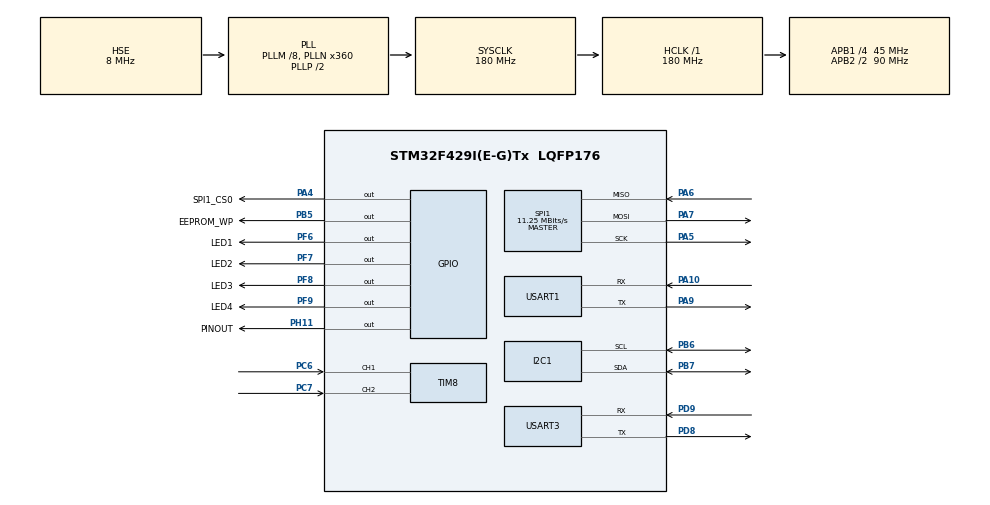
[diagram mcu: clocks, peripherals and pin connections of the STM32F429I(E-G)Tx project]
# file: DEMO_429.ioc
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ADC1.Channel-0\#ChannelRegularConversion=ADC_CHANNEL_TEMPSENSOR
ADC1.NbrOfConversion=1
ADC1.NbrOfConversionFlag=1
ADC1.Rank-0\#ChannelRegularConversion=1
ADC1.SamplingTime-0\#ChannelRegularConversion=ADC_SAMPLETIME_3CYCLES
ADC1.master=1
Dma.Request0=USART3_RX
Dma.Request1=USART1_RX
Dma.USART1_RX.1.Direction=DMA_PERIPH_TO_MEMORY
Dma.USART1_RX.1.FIFOMode=DMA_FIFOMODE_DISABLE
Dma.USART1_RX.1.Instance=DMA2_Stream2
Dma.USART1_RX.1.MemDataAlignment=DMA_MDATAALIGN_BYTE
Dma.USART1_RX.1.MemInc=DMA_MINC_ENABLE
Dma.USART1_RX.1.Mode=DMA_NORMAL
Dma.USART1_RX.1.PeriphDataAlignment=DMA_PDATAALIGN_BYTE
Dma.USART1_RX.1.PeriphInc=DMA_PINC_DISABLE
Dma.USART1_RX.1.Priority=DMA_PRIORITY_LOW
Dma.USART3_RX.0.Direction=DMA_PERIPH_TO_MEMORY
Dma.USART3_RX.0.FIFOMode=DMA_FIFOMODE_DISABLE
Dma.USART3_RX.0.Instance=DMA1_Stream1
Dma.USART3_RX.0.MemDataAlignment=DMA_MDATAALIGN_BYTE
Dma.USART3_RX.0.MemInc=DMA_MINC_ENABLE
Dma.USART3_RX.0.Mode=DMA_NORMAL
Dma.USART3_RX.0.PeriphDataAlignment=DMA_PDATAALIGN_BYTE
Dma.USART3_RX.0.PeriphInc=DMA_PINC_DISABLE
Dma.USART3_RX.0.Priority=DMA_PRIORITY_LOW
FREERTOS.Tasks01=defaultTask,24,128,StartDefaultTask,Default,NULL,Dynamic,NULL,NULL
FREERTOS.configLIBRARY_MAX_SYSCALL_INTERRUPT_PRIORITY=5
FREERTOS.configTOTAL_HEAP_SIZE=30720
I2C1.I2C_Mode=I2C_Standard
IWDG.Prescaler=IWDG_PRESCALER_32
IWDG.Reload=2000
Mcu.Family=STM32F4
Mcu.Name=STM32F429I(E-G)Tx
Mcu.Package=LQFP176
NVIC.DMA1_Stream1_IRQn=true\:6\:0\:true\:false\:true\:true\:false\:true
NVIC.DMA2_Stream2_IRQn=true\:6\:0\:true\:false\:true\:true\:false\:true
NVIC.FLASH_IRQn=true\:6\:0\:true\:false\:true\:true\:true\:true
NVIC.PriorityGroup=NVIC_PRIORITYGROUP_4
NVIC.TIM1_UP_TIM10_IRQn=true\:0\:0\:false\:false\:true\:false\:false\:true
NVIC.TIM3_IRQn=true\:6\:0\:true\:false\:true\:true\:true\:true
NVIC.TIM8_CC_IRQn=true\:5\:0\:false\:false\:true\:true\:true\:true
NVIC.TimeBase=TIM1_UP_TIM10_IRQn
NVIC.TimeBaseIP=TIM1
NVIC.USART1_IRQn=true\:6\:0\:true\:false\:true\:true\:true\:true
NVIC.USART3_IRQn=true\:6\:0\:true\:false\:true\:true\:true\:true
PA10.Mode=Asynchronous
PA10.Signal=USART1_RX
PA4.GPIO_Label=SPI1_CS0
PA4.Signal=GPIO_Output
PA5.Mode=Full_Duplex_Master
PA5.Signal=SPI1_SCK
PA6.Mode=Full_Duplex_Master
PA6.Signal=SPI1_MISO
PA7.Mode=Full_Duplex_Master
PA7.Signal=SPI1_MOSI
PA9.Mode=Asynchronous
PA9.Signal=USART1_TX
PB5.GPIO_Label=EEPROM_WP
PB5.Signal=GPIO_Output
PB6.Mode=I2C
PB6.Signal=I2C1_SCL
PB7.Mode=I2C
PB7.Signal=I2C1_SDA
PC6.Signal=S_TIM8_CH1
PC7.Signal=S_TIM8_CH2
PD8.Mode=Asynchronous
PD8.Signal=USART3_TX
PD9.Mode=Asynchronous
PD9.Signal=USART3_RX
PF6.GPIO_Label=LED1
PF6.Signal=GPIO_Output
PF7.GPIO_Label=LED2
PF7.Signal=GPIO_Output
PF8.GPIO_Label=LED3
PF8.Signal=GPIO_Output
PF9.GPIO_Label=LED4
PF9.Signal=GPIO_Output
PH0/OSC_IN.Mode=HSE-External-Oscillator
PH0/OSC_IN.Signal=RCC_OSC_IN
PH1/OSC_OUT.Mode=HSE-External-Oscillator
PH1/OSC_OUT.Signal=RCC_OSC_OUT
PH11.GPIO_Label=PINOUT
PH11.Signal=GPIO_Output
ProjectManager.HeapSize=0x200
ProjectManager.StackSize=0x400
ProjectManager.TargetToolchain=MDK-ARM V5
RCC.48MHZClocksFreq_Value=90000000
RCC.AHBFreq_Value=180000000
RCC.APB1CLKDivider=RCC_HCLK_DIV4
RCC.APB1Freq_Value=45000000
RCC.APB1TimFreq_Value=90000000
RCC.APB2CLKDivider=RCC_HCLK_DIV2
RCC.APB2Freq_Value=90000000
RCC.APB2TimFreq_Value=180000000
RCC.CortexFreq_Value=180000000
RCC.HCLKFreq_Value=180000000
RCC.HSE_VALUE=8000000
RCC.HSI_VALUE=16000000
RCC.LSE_VALUE=32768
RCC.PLLM=8
RCC.PLLN=360
RCC.PLLSourceVirtual=RCC_PLLSOURCE_HSE
RCC.RCC_RTC_Clock_Source=RCC_RTCCLKSOURCE_LSI
RCC.RCC_RTC_Clock_SourceVirtual=RCC_RTCCLKSOURCE_LSI
RCC.SYSCLKFreq_VALUE=180000000
RCC.SYSCLKSource=RCC_SYSCLKSOURCE_PLLCLK
RCC.VCOOutputFreq_Value=360000000
SH.S_TIM8_CH1.0=TIM8_CH1,Input_Capture1_from_TI1
SH.S_TIM8_CH2.0=TIM8_CH2,Input_Capture2_from_TI2
SPI1.BaudRatePrescaler=SPI_BAUDRATEPRESCALER_8
SPI1.CLKPhase=SPI_PHASE_1EDGE
SPI1.CLKPolarity=SPI_POLARITY_LOW
SPI1.CalculateBaudRate=11.25 MBits/s
SPI1.Direction=SPI_DIRECTION_2LINES
SPI1.Mode=SPI_MODE_MASTER
SPI1.VirtualType=VM_MASTER
TIM3.AutoReloadPreload=TIM_AUTORELOAD_PRELOAD_ENABLE
TIM3.Period=999
TIM3.Prescaler=44999
TIM8.Channel-Input_Capture1_from_TI1=TIM_CHANNEL_1
TIM8.Channel-Input_Capture2_from_TI2=TIM_CHANNEL_2
TIM8.ICFilter_CH1=0x03
TIM8.ICFilter_CH2=0x03
TIM8.ICPolarity_CH2=TIM_INPUTCHANNELPOLARITY_FALLING
USART1.VirtualMode=VM_ASYNC
USART3.VirtualMode=VM_ASYNC
VP_ADC1_TempSens_Input.Mode=IN-TempSens
VP_FREERTOS_VS_CMSIS_V2.Mode=CMSIS_V2
VP_IWDG_VS_IWDG.Mode=IWDG_Activate
VP_SYS_VS_tim1.Mode=TIM1
VP_TIM3_VS_ClockSourceINT.Mode=Internal
board=custom

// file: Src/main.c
/* USER CODE BEGIN Header */
/**
  ******************************************************************************
  * @file           : main.c
  * @brief          : Main program body
  ******************************************************************************
  * @attention
  *
  * <h2><center>&copy; Copyright (c) 2020 STMicroelectronics.
  * All rights reserved.</center></h2>
  *
  * This software component is licensed by ST under BSD 3-Clause license,
  * the "License"; You may not use this file except in compliance with the
  * License. You may obtain a copy of the License at:
  *                        opensource.org/licenses/BSD-3-Clause
  *
  ******************************************************************************
  */
/* USER CODE END Header */

#include "main.h"
#include "cmsis_os.h"
#include "adc.h"
#include "dma.h"
#include "i2c.h"
#include "iwdg.h"
#include "spi.h"
#include "tim.h"
#include "usart.h"
#include "gpio.h"

/* USER CODE BEGIN Includes */
#include "common.h"
#include "flash_if.h"
#include <stdio.h>
#include <string.h>

/* USER CODE END Includes */

/* USER CODE BEGIN PV */
uint8_t debug_buf[UART_MAX_LENGTH] = {0};
uint8_t wd_enable = 1;
uint8_t pinout_enable;
uint8_t reset_flag = 0;
RespondStruct resp_msg;
UartStu uart_msg;
RunState run_state;
extern char *FW_VERSION;
#if defined(USE_SRAM_FOR_FW_IMG)
uint8_t fw_buffer[FW_MAX_LENGTH] __attribute__((at(0x20020000)));
#endif
#if defined(RUN_WITH_SRAM)
uint8_t flash_in_use;
uint32_t upgrade_addr;
uint32_t upgrade_sector;
UpgradeFlashState upgrade_status;
#endif

extern osSemaphoreId_t watchdogSemaphore;
/* USER CODE END PV */

void SystemClock_Config(void);
void MX_FREERTOS_Init(void);

int main(void)
{

  /* MCU Configuration--------------------------------------------------------*/

  /* Reset of all peripherals, Initializes the Flash interface and the Systick. */
  HAL_Init();

  /* Configure the system clock */
  SystemClock_Config();

  /* Initialize all configured peripherals */
  MX_GPIO_Init();
  MX_DMA_Init();
  MX_USART3_UART_Init();
  MX_USART1_UART_Init();
  MX_ADC1_Init();
  MX_IWDG_Init();
  MX_SPI1_Init();
  MX_TIM3_Init();
  MX_I2C1_Init();
  MX_TIM8_Init();
  /* USER CODE BEGIN 2 */
  HAL_TIM_IC_Start_IT(&htim8, TIM_CHANNEL_1);
  HAL_TIM_IC_Start_IT(&htim8, TIM_CHANNEL_2);

  /* USER CODE END 2 */
  /* Init scheduler */
  osKernelInitialize();

  /* Call init function for freertos objects (in freertos.c) */
  MX_FREERTOS_Init();

  /* Start scheduler */
  osKernelStart();

  /* We should never get here as control is now taken by the scheduler */

  /* Infinite loop */
  while (1)
  {

  }
}

void SystemClock_Config(void)
{
  RCC_OscInitTypeDef RCC_OscInitStruct = {0};
  RCC_ClkInitTypeDef RCC_ClkInitStruct = {0};

  /** Configure the main internal regulator output voltage
  */
  __HAL_RCC_PWR_CLK_ENABLE();
  __HAL_PWR_VOLTAGESCALING_CONFIG(PWR_REGULATOR_VOLTAGE_SCALE1);
  /** Initializes the CPU, AHB and APB busses clocks
  */
  RCC_OscInitStruct.OscillatorType = RCC_OSCILLATORTYPE_LSI|RCC_OSCILLATORTYPE_HSE;
  RCC_OscInitStruct.HSEState = RCC_HSE_ON;
  RCC_OscInitStruct.LSIState = RCC_LSI_ON;
  RCC_OscInitStruct.PLL.PLLState = RCC_PLL_ON;
  RCC_OscInitStruct.PLL.PLLSource = RCC_PLLSOURCE_HSE;
  RCC_OscInitStruct.PLL.PLLM = 8;
  RCC_OscInitStruct.PLL.PLLN = 360;
  RCC_OscInitStruct.PLL.PLLP = RCC_PLLP_DIV2;
  RCC_OscInitStruct.PLL.PLLQ = 4;
  if (HAL_RCC_OscConfig(&RCC_OscInitStruct) != HAL_OK)
  {
    Error_Handler();
  }
  /** Activate the Over-Drive mode
  */
  if (HAL_PWREx_EnableOverDrive() != HAL_OK)
  {
    Error_Handler();
  }
  /** Initializes the CPU, AHB and APB busses clocks
  */
  RCC_ClkInitStruct.ClockType = RCC_CLOCKTYPE_HCLK|RCC_CLOCKTYPE_SYSCLK
                              |RCC_CLOCKTYPE_PCLK1|RCC_CLOCKTYPE_PCLK2;
  RCC_ClkInitStruct.SYSCLKSource = RCC_SYSCLKSOURCE_PLLCLK;
  RCC_ClkInitStruct.AHBCLKDivider = RCC_SYSCLK_DIV1;
  RCC_ClkInitStruct.APB1CLKDivider = RCC_HCLK_DIV4;
  RCC_ClkInitStruct.APB2CLKDivider = RCC_HCLK_DIV2;

  if (HAL_RCC_ClockConfig(&RCC_ClkInitStruct, FLASH_LATENCY_5) != HAL_OK)
  {
    Error_Handler();
  }
}

/* USER CODE BEGIN 4 */
void Mon_Init(void)
{
  run_state.mode = RUN_MODE_APPLICATION;
  uart_msg.stage = UART_WAIT_START;
  wd_enable = 1;

  EPT("Firmware version: %s\n", FW_VERSION);

  if (__HAL_RCC_GET_FLAG(RCC_FLAG_BORRST) != RESET){
    SET_RESETFLAG(BOR_RESET_BIT);
    EPT("BOR Reset is set\n");
  }
  if (__HAL_RCC_GET_FLAG(RCC_FLAG_PINRST) != RESET){
    SET_RESETFLAG(PIN_RESET_BIT);
    EPT("PIN Reset is set\n");
  }
  if (__HAL_RCC_GET_FLAG(RCC_FLAG_PORRST) != RESET){
    SET_RESETFLAG(POR_RESET_BIT);
    EPT("POR/PDR Reset is set\n");
  }
  if (__HAL_RCC_GET_FLAG(RCC_FLAG_SFTRST) != RESET){
    SET_RESETFLAG(SFT_RESET_BIT);
    EPT("Software Reset is set\n");
  }
  if (__HAL_RCC_GET_FLAG(RCC_FLAG_IWDGRST) != RESET){
    SET_RESETFLAG(IWDG_RESET_BIT);
    EPT("Independent Watchdog Reset is set\n");
  }
  if (__HAL_RCC_GET_FLAG(RCC_FLAG_WWDGRST) != RESET){
    SET_RESETFLAG(WWDG_RESET_BIT);
    EPT("Window Watchdog Reset is set\n");
  }
  if (__HAL_RCC_GET_FLAG(RCC_FLAG_LPWRRST) != RESET){
    SET_RESETFLAG(LPWR_RESET_BIT);
    EPT("Low-Power Reset is set\n");
  }
/*
  if (IS_RESETFLAG_SET(BOR_RESET_BIT)) {
  }
*/
  __HAL_RCC_CLEAR_RESET_FLAGS();

  pinout_enable = 0;
  HAL_GPIO_WritePin(PINOUT_GPIO_Port, PINOUT_Pin, GPIO_PIN_SET);

  // SPI_CS
  HAL_GPIO_WritePin(SPI1_CS0_GPIO_Port, SPI1_CS0_Pin, GPIO_PIN_SET);

#if defined(RUN_WITH_SRAM)
  FLASH_If_Init();
  memcpy(&upgrade_status, (void*)CONFIG_ADDRESS, sizeof(UpgradeFlashState));
  EPT("f_state: %#X, %u, %#X, %u, %#x, %u\n", upgrade_status.magic, upgrade_status.run, upgrade_status.crc16, upgrade_status.length, upgrade_status.factory_crc16, upgrade_status.factory_length);
  if (upgrade_status.magic != 0xAA) {
    EPT("Verify f_state.magic failed\n");
  }
  switch (upgrade_status.run) {
    case 0:
      EPT("Boot from factory\n");
      upgrade_addr = APPLICATION_1_ADDRESS;
      upgrade_sector = APPLICATION_1_SECTOR;
      break;
    case 1:
      EPT("Boot from Application 1\n");
      upgrade_addr = APPLICATION_2_ADDRESS;
      upgrade_sector = APPLICATION_2_SECTOR;
      break;
    case 2:
      EPT("Boot from Application 2\n");
      upgrade_addr = APPLICATION_1_ADDRESS;
      upgrade_sector = APPLICATION_1_SECTOR;
      break;
    default:
      EPT("f_state.run invalid\n");
      upgrade_addr = RESERVE_ADDRESS;
      upgrade_sector = RESERVE_SECTOR;
      break;
  }
  EPT("FLASH->OPTCR = %#X\n", FLASH->OPTCR);
  if (*(uint32_t*)upgrade_addr != 0xFFFFFFFFU) {
    flash_in_use = 1;
    // erase flash
    EPT("flash is not empty\n");
    if (upgrade_addr != RESERVE_ADDRESS)
      FLASH_If_Erase_IT(upgrade_sector);
    EPT("erase sector...\n");
  } else {
    EPT("flash is empty\n");
  }
#endif
}

void HAL_TIM_IC_CaptureCallback(TIM_HandleTypeDef *htim)
{
  if (htim->Instance == TIM8) {
    if (pinout_enable) {
      if (htim->Channel == HAL_TIM_ACTIVE_CHANNEL_1) {
        // Rising Edge
        HAL_GPIO_WritePin(PINOUT_GPIO_Port, PINOUT_Pin, GPIO_PIN_SET);
      } else if (htim->Channel == HAL_TIM_ACTIVE_CHANNEL_2) {
        // Failing Edge
        HAL_GPIO_WritePin(PINOUT_GPIO_Port, PINOUT_Pin, GPIO_PIN_RESET);
      }
    }
  }
}

extern FLASH_ProcessTypeDef pFlash;
void HAL_FLASH_EndOfOperationCallback(uint32_t ReturnValue)
{
  if (0xFFFFFFFFU == ReturnValue) {
    EPT("Erase flash operation completely\n");
    HAL_FLASH_Lock();
    flash_in_use = 0;
  }
}

/* USER CODE END 4 */

void HAL_TIM_PeriodElapsedCallback(TIM_HandleTypeDef *htim)
{
  /* USER CODE BEGIN Callback 0 */
  if (htim->Instance == TIM3) {
    osSemaphoreRelease(watchdogSemaphore);
    //HAL_IWDG_Refresh(&hiwdg);
  }
  /* USER CODE END Callback 0 */
  if (htim->Instance == TIM1) {
    HAL_IncTick();
  }
}

void Error_Handler(void)
{
}

/************************ (C) COPYRIGHT STMicroelectronics *****END OF FILE****/

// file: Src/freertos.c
/* USER CODE BEGIN Header */
/**
  ******************************************************************************
  * File Name          : freertos.c
  * Description        : Code for freertos applications
  ******************************************************************************
  * @attention
  *
  * <h2><center>&copy; Copyright (c) 2020 STMicroelectronics.
  * All rights reserved.</center></h2>
  *
  * This software component is licensed by ST under Ultimate Liberty license
  * SLA0044, the "License"; You may not use this file except in compliance with
  * the License. You may obtain a copy of the License at:
  *                             www.st.com/SLA0044
  *
  ******************************************************************************
  */
/* USER CODE END Header */

#include "FreeRTOS.h"
#include "task.h"
#include "main.h"
#include "cmsis_os.h"

/* USER CODE BEGIN Includes */
#include "common.h"
#include "command.h"
#include "usart.h"
#include "iwdg.h"
#include "tim.h"
#include <stdio.h>
#include <string.h>
/* USER CODE END Includes */

/* USER CODE BEGIN Variables */
osSemaphoreId_t uartProcessSemaphore;                 // semaphore id
osSemaphoreId_t watchdogSemaphore;                    // semaphore id
osSemaphoreId_t cmdProcessSemaphore;                  // semaphore id

osMessageQueueId_t mid_DmaWait;                // message queue id

osThreadId_t ledTaskHandle;
const osThreadAttr_t ledTask_attributes = {
  .name = "ledTask",
  .priority = (osPriority_t) LED_CONTROL_PRIORITY,
  .stack_size = 128
};

osThreadId_t cmdProcessTaskHandle;
const osThreadAttr_t cmdProcessTask_attributes = {
  .name = "cmdProcessTask",
  .priority = (osPriority_t) CMD_PROCESS_PRIORITY,
  .stack_size = 512
};

osThreadId_t uartProcessTaskHandle;
const osThreadAttr_t uartProcessTask_attributes = {
  .name = "uartProcessTask",
  .priority = (osPriority_t) UART_PROCESS_PRIORITY,
  .stack_size = 512
};

osThreadId_t uartDmaWaitTaskHandle;
const osThreadAttr_t uartDmaWaitTask_attributes = {
  .name = "uartDmaWaitTask",
  .priority = (osPriority_t) UART_DMA_WAIT_PRIORITY,
  .stack_size = 128
};

osThreadId_t watchdogTaskHandle;
const osThreadAttr_t watchdogTask_attributes = {
  .name = "watchdogTask",
  .priority = (osPriority_t) WATCHDOG_PRIORITY,
  .stack_size = 512
};
/* USER CODE END Variables */
/* Definitions for defaultTask */
osThreadId_t defaultTaskHandle;
const osThreadAttr_t defaultTask_attributes = {
  .name = "defaultTask",
  .priority = (osPriority_t) osPriorityNormal,
  .stack_size = 128
};

/* USER CODE BEGIN FunctionPrototypes */
void ledTask(void *argument);
void cmdProcessTask(void *argument);
void uartProcessTask(void *argument);
void uartDmaWaitTask(void *argument);
void watchdogTask(void *argument);
/* USER CODE END FunctionPrototypes */

void StartDefaultTask(void *argument);

void MX_FREERTOS_Init(void); /* (MISRA C 2004 rule 8.1) */

void MX_FREERTOS_Init(void) {
  /* USER CODE BEGIN Init */
  Mon_Init();
  /* USER CODE END Init */

  /* USER CODE BEGIN RTOS_SEMAPHORES */
  /* add semaphores, ... */
  watchdogSemaphore = osSemaphoreNew(1U, 0U, NULL);
  if (watchdogSemaphore == NULL) {
    POWER_UP_LED2();
  }

  uartProcessSemaphore = osSemaphoreNew(1U, 0U, NULL);
  if (uartProcessSemaphore == NULL) {
    POWER_UP_LED2();
  }

  cmdProcessSemaphore = osSemaphoreNew(1U, 0U, NULL);
  if (cmdProcessSemaphore == NULL) {
    POWER_UP_LED2();
  }
  /* USER CODE END RTOS_SEMAPHORES */

  /* USER CODE BEGIN RTOS_QUEUES */
  /* add queues, ... */
  mid_DmaWait = osMessageQueueNew(UART_QUEUE_LENGTH, sizeof(uint8_t), NULL);
  if (mid_DmaWait == NULL) {
    // Message Queue object not created, handle failure
    POWER_UP_LED2();
  }
  /* USER CODE END RTOS_QUEUES */

  /* Create the thread(s) */
  /* creation of defaultTask */
  defaultTaskHandle = osThreadNew(StartDefaultTask, NULL, &defaultTask_attributes);

  /* USER CODE BEGIN RTOS_THREADS */
  /* add threads, ... */
  ledTaskHandle = osThreadNew(ledTask, NULL, &ledTask_attributes);
  uartProcessTaskHandle = osThreadNew(uartProcessTask, NULL, &uartProcessTask_attributes);
  uartDmaWaitTaskHandle = osThreadNew(uartDmaWaitTask, NULL, &uartDmaWaitTask_attributes);
  cmdProcessTaskHandle = osThreadNew(cmdProcessTask, NULL, &cmdProcessTask_attributes);
  watchdogTaskHandle = osThreadNew(watchdogTask, NULL, &watchdogTask_attributes);
  /* USER CODE END RTOS_THREADS */

}

void StartDefaultTask(void *argument)
{
  for(;;)
  {
    osDelay(1);
  }
}

/* USER CODE BEGIN Application */
void ledTask(void *argument)
{
  uint32_t ticks = pdMS_TO_TICKS(LED_PERIOD);
  for (;;)
  {
    osDelay(ticks);
    TOGGLE_LED1();
  }
}

void cmdProcessTask(void *argument)
{
  uint32_t ret;

  for (;;)
  {
    ulTaskNotifyTake(pdTRUE, portMAX_DELAY);
    if (uart_msg.stage != UART_RECV_DATA) {
      EPT("Stage incorrect\n");
      continue;
    }

    ret = Cmd_Process();
    switch (ret) {
    case RESPOND_SUCCESS:
    case RESPOND_FAILURE:
    case RESPOND_INVALID_PARAM:
    case RESPOND_UNSUPPORT:
      break;
    default:
      // Impossible
      EPT("Unknow return value\n");
      break;
    }

    osSemaphoreRelease(cmdProcessSemaphore);
    Uart_Respond(resp_msg.status, resp_msg.cmd, resp_msg.buf, resp_msg.length);
  }
}

/* WARNNING: If you want to receive new messages while processing the message you just received,
      You must pay attention to HAL_LOCK () in functions HAL_UART_Receive_IT() and HAL_UART_Transmit()
      between different tasks.*/
void uartProcessTask(void *argument)
{
  uint32_t msg_length;
  uint8_t chk;
  uint32_t wait_cmd_ticks = pdMS_TO_TICKS(UART_WAIT_CMD_SEMA);
  uint8_t uart_dma;
  osStatus_t status;

  CLEAR_BIT(huart1.Instance->SR, USART_SR_RXNE);
  HAL_UART_Receive_IT(&huart1, uart_msg.uart_buf, 1);

  for(;;)
  {
    osSemaphoreAcquire(uartProcessSemaphore, osWaitForever);

    if (uart_msg.stage == UART_WAIT_START) {
      if (uart_msg.uart_buf[CMD_SEQ_START] != UART_START_BYTE) {
        // Invalid data
        EPT("Invalid character: %#X\n", uart_msg.uart_buf[CMD_SEQ_START]);
        HAL_UART_Receive_IT(&huart1, uart_msg.uart_buf, 1);
      } else {
        // Received start
        uart_msg.stage = UART_WAIT_LENGTH;
        HAL_UART_Receive_IT(&huart1, &uart_msg.uart_buf[CMD_SEQ_LENGTH], 1);
      }
    } else if (uart_msg.stage == UART_WAIT_LENGTH) {
      // Received length
      msg_length = uart_msg.uart_buf[CMD_SEQ_LENGTH];
      if (msg_length > UART_MAX_LENGTH - 2 || msg_length < 3) {
        // Length invalid
        uart_msg.stage = UART_WAIT_START;
        HAL_UART_Receive_IT(&huart1, uart_msg.uart_buf, 1);
        EPT("Invalid length %#X\n", msg_length);
      }else {
        if (osMessageQueueGetCount(mid_DmaWait) >= UART_QUEUE_LENGTH - 1) {
          // No enough space in the queue, do not start DMA
          uart_msg.stage = UART_WAIT_START;
          HAL_UART_Receive_IT(&huart1, uart_msg.uart_buf, 1);
          EPT("No enough space in the queue\n");
        } else {
          // TODO: Send RECV_START message to the queue
          uart_dma = UART_DMA_RECV_START;
          if (osMessageQueuePut(mid_DmaWait, &uart_dma, 0U, 0U) == osOK) {
            // Total length = msg_length + start byte
            uart_msg.length = msg_length + 1;
            uart_msg.stage = UART_RECV_DATA;
            HAL_UART_Receive_DMA(&huart1, &uart_msg.uart_buf[CMD_SEQ_LENGTH + 1], uart_msg.length - 2);
          } else {
            EPT("Unknown error\n");
          }
        }

      }
    } else if (uart_msg.stage == UART_RECV_DATA){
      // Received message body

      // Send RECV_SUCCUESS message to the queue
      uart_dma = UART_DMA_RECV_SUCCESS;
      if (osMessageQueuePut(mid_DmaWait, &uart_dma, 0U, 0U) != osOK) {
        EPT("Unknown error\n");
      }

      // TODO: Check
      chk = Cal_Check(&uart_msg.uart_buf[CMD_SEQ_LENGTH], uart_msg.length - 2);
      if (chk ^ uart_msg.uart_buf[uart_msg.length - 1]) {
        // Command check failed
        EPT("Command check failed\n");
        Uart_Respond(RESPOND_CHECKSUM_ERR, 0, NULL, 0);
      } else {
        // Process Command, Respond
        xTaskNotifyGive(cmdProcessTaskHandle);
        status = osSemaphoreAcquire(cmdProcessSemaphore, wait_cmd_ticks);
        if (status == osErrorTimeout) {
          // TODO: Process command timeout
          EPT("Process command timeout\n");
        } else if (status != osOK) {
          EPT("Error, status=%#X\n", status);
        }
      }

      //HAL_UART_Transmit(&huart3, &uart_msg.uart_buf[CMD_SEQ_COMMAND], uart_msg.length - 2, 0xFFFF);
      uart_msg.stage = UART_WAIT_START;
      HAL_UART_Receive_IT(&huart1, uart_msg.uart_buf, 1);
    }
  }
}

void uartDmaWaitTask(void *argument)
{
  osStatus_t uart_status;
  uint32_t wait_ticks = pdMS_TO_TICKS(UART_DMA_TIMEOUT);
  uint8_t uart_dma;

  for(;;)
  {
    if (osMessageQueueGet(mid_DmaWait, &uart_dma, 0U, osWaitForever) != osOK) {
      EPT("Unknown error\n");
    }

    // Get the last one
    while ((osMessageQueueGetCount(mid_DmaWait)) != 0) {
      uart_status = osMessageQueueGet(mid_DmaWait, &uart_dma, 0U, 0U);
      if (uart_status != osOK) {
        EPT("Error, status=%#X\n", uart_status);
      }
    }

    if (uart_dma == UART_DMA_RECV_SUCCESS) {
      continue;
    }

    while (1) {
      uart_status = osMessageQueueGet(mid_DmaWait, &uart_dma, 0U, wait_ticks);
      if (uart_status == osErrorTimeout) {
        // DMA timeout
        // TODO: Stop DMA
        HAL_UART_DMAStop(&huart1);
        EPT("DMA timeout\n");
        // TODO: Respond?

        uart_msg.stage = UART_WAIT_START;
        HAL_UART_Receive_IT(&huart1, uart_msg.uart_buf, 1);
        break;
      } else if (uart_status != osOK) {
        EPT("Error, status=%#X\n", uart_status);
      }

      // Get the last one
      while ((osMessageQueueGetCount(mid_DmaWait)) != 0) {
        uart_status = osMessageQueueGet(mid_DmaWait, &uart_dma, 0U, 0U);
        if (uart_status != osOK) {
          EPT("Error, status=%#X\n", uart_status);
        }
      }

      if (uart_dma == UART_DMA_RECV_START) {
        continue;
      } else {
        break;
      }
    }
  }
}

void watchdogTask(void *argument)
{
  HAL_IWDG_Refresh(&hiwdg);
  HAL_TIM_Base_Start_IT(&htim3);
  for(;;)
  {
    osSemaphoreAcquire(watchdogSemaphore, osWaitForever);
    if (wd_enable)
      HAL_IWDG_Refresh(&hiwdg);
  }
}

/* USER CODE END Application */

/************************ (C) COPYRIGHT STMicroelectronics *****END OF FILE****/
